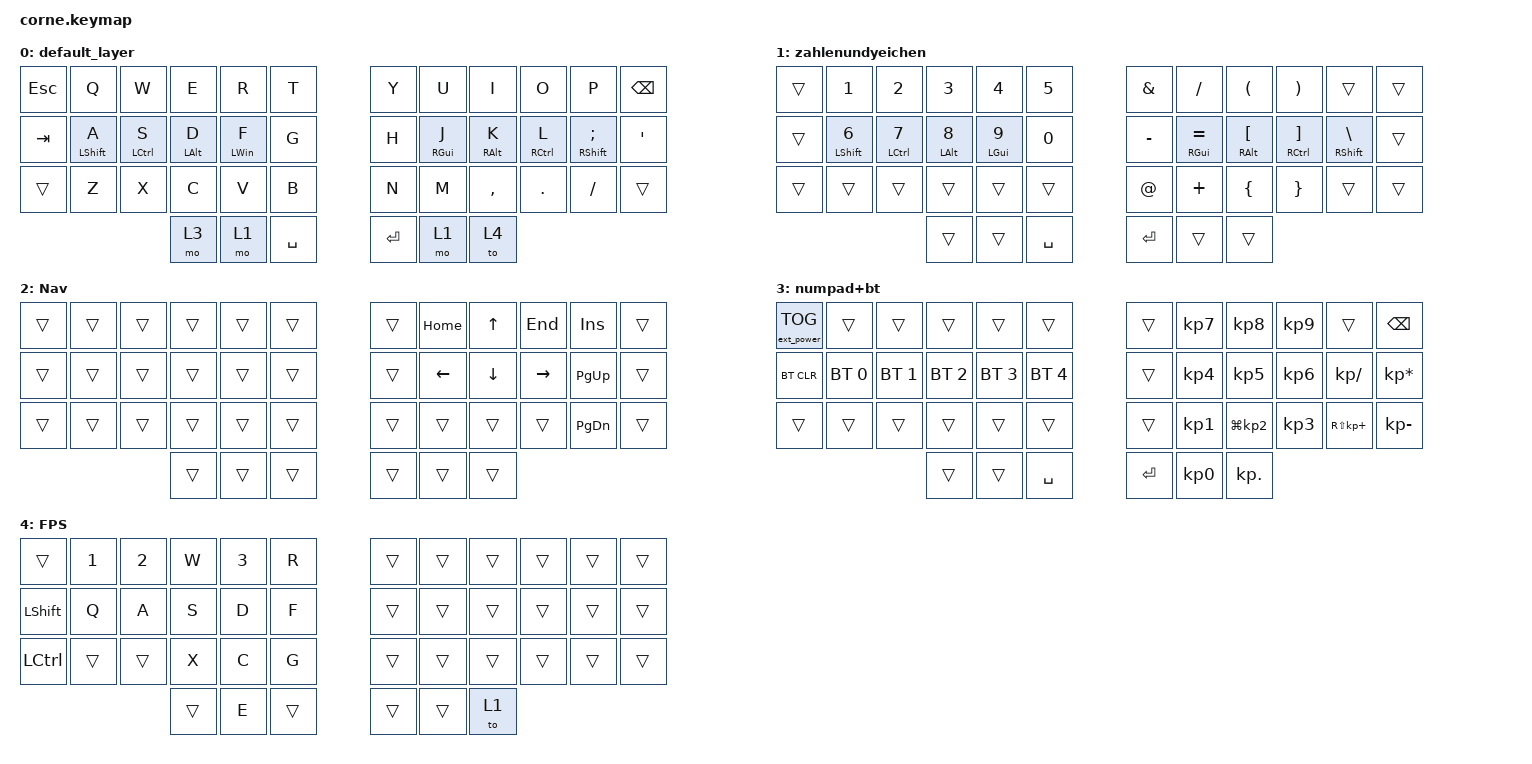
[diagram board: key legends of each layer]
/*
 * Copyright (c) 2020 The ZMK Contributors
 *
 * SPDX-License-Identifier: MIT
 */

#include <behaviors.dtsi>
#include <dt-bindings/zmk/bt.h>
#include <dt-bindings/zmk/ext_power.h>
#include <dt-bindings/zmk/keys.h>

&led_strip { chain-length = <27>; };

/ {
    combos {
        compatible = "zmk,combos";

        copy {
            bindings = <&kp LC(C)>;
            key-positions = <14 15>;
        };

        cut {
            bindings = <&kp LC(X)>;
            key-positions = <14 16>;
        };

        paste {
            bindings = <&kp LC(V)>;
            key-positions = <15 16>;
        };
    };

    behaviors {
        hrl: hrl {
            compatible = "zmk,behavior-hold-tap";
            label = "home row left";
            bindings = <&kp>, <&kp>;

            #binding-cells = <2>;
            tapping-term-ms = <180>;
            hold-trigger-key-positions = <6 7 8 9 10 11 18 19 20 21 22 23 30 31 32 33 34 35 36 37 38 39 40 41>;
        };

        hrr: hrr {
            compatible = "zmk,behavior-hold-tap";
            label = "home row right";
            bindings = <&kp>, <&kp>;

            #binding-cells = <2>;
            tapping-term-ms = <180>;
            hold-trigger-key-positions = <2 0 1 2 3 4 12 13 14 15 16 17 27 0 1 2 3 4 5 12 13 14 15 16 17 24 25 26 27 28 29 36 37 38 39 40 41>;
        };
    };

    keymap {
        compatible = "zmk,keymap";

        default_layer {
            // -----------------------------------------------------------------------------------------
            // |  TAB |  Q  |  W  |  E  |  R  |  T  |   |  Y  |  U   |  I  |  O  |  P  | BKSP |
            // | CTRL |  A  |  S  |  D  |  F  |  G  |   |  H  |  J   |  K  |  L  |  ;  |  '   |
            // | SHFT |  Z  |  X  |  C  |  V  |  B  |   |  N  |  M   |  ,  |  .  |  /  | ESC  |
            //                    | GUI | LWR | SPC |   | ENT | RSE  | ALT |

            bindings = <
&kp ESCAPE  &kp Q              &kp W                &kp E            &kp R            &kp T        &kp Y    &kp U             &kp I             &kp O                 &kp P                  &kp BSPC
&kp TAB     &hrl LEFT_SHIFT A  &hrl LEFT_CONTROL S  &hrl LEFT_ALT D  &hrl LEFT_WIN F  &kp G        &kp H    &hrr RIGHT_GUI J  &hrr RIGHT_ALT K  &hrr RIGHT_CONTROL L  &hrr RIGHT_SHIFT SEMI  &kp SINGLE_QUOTE
&trans      &kp Z              &kp X                &kp C            &kp V            &kp B        &kp N    &kp M             &kp COMMA         &kp DOT               &kp FSLH               &trans
                                                    &mo 3            &mo 1            &kp SPACE    &kp RET  &mo 1             &to 4
            >;
        };

        zahlenundyeichen {
            // -----------------------------------------------------------------------------------------
            // |  TAB |  !  |  @  |  #  |  $  |  %  |   |  ^  |  &  |  *  |  (  |  )  | BKSP |
            // | CTRL |     |     |     |     |     |   |  -  |  =  |  [  |  ]  |  \  |  `   |
            // | SHFT | Ü |     |     |     |     |   |  _  |  +  |  {  |  }  | "|" |  ~   |
            //                    | GUI |     | SPC |   | ENT |     | ALT |

            bindings = <
&trans  &kp NUMBER_1              &kp NUMBER_2          &kp N3            &kp N4            &kp N5       &kp AMPERSAND  &kp SLASH             &kp LEFT_PARENTHESIS  &kp RIGHT_PARENTHESIS  &trans                 &trans
&trans  &hrl LEFT_SHIFT NUMBER_6  &hrl LEFT_CONTROL N7  &hrl LEFT_ALT N8  &hrl LEFT_GUI N9  &kp N0       &kp MINUS      &hrr RIGHT_GUI EQUAL  &hrr RIGHT_ALT LBKT   &hrr RCTRL RBKT        &hrr RIGHT_SHIFT BSLH  &trans
&trans  &trans                    &trans                &trans            &trans            &trans       &kp AT         &kp PLUS              &kp LBRC              &kp RBRC               &trans                 &trans
                                                        &trans            &trans            &kp SPACE    &kp RET        &trans                &trans
            >;
        };

        Nav {
            bindings = <
&trans  &trans  &trans  &trans  &trans  &trans    &trans  &kp HOME  &kp UP    &kp END    &kp INS        &trans
&trans  &trans  &trans  &trans  &trans  &trans    &trans  &kp LEFT  &kp DOWN  &kp RIGHT  &kp PAGE_UP    &trans
&trans  &trans  &trans  &trans  &trans  &trans    &trans  &trans    &trans    &trans     &kp PAGE_DOWN  &trans
                        &trans  &trans  &trans    &trans  &trans    &trans
            >;
        };

        numpad+bt {
            // -----------------------------------------------------------------------------------------
            // |  TAB |  1  |  2  |  3  |  4  |  5  |   |  6  |  7  |  8  |  9  |  0  | BKSP |
            // | BTCLR| BT1 | BT2 | BT3 | BT4 | BT5 |   | LFT | DWN |  UP | RGT |     |      |
            // | SHFT |     |     |     |     |     |   |     |     |     |     |     |      |
            //                    | GUI |     | SPC |   | ENT |     | ALT |

            bindings = <
&ext_power EP_TOG  &trans        &trans        &trans        &trans        &trans          &trans   &kp KP_NUMBER_7  &kp KP_NUMBER_8      &kp KP_NUMBER_9  &trans           &kp BSPC
&bt BT_CLR         &bt BT_SEL 0  &bt BT_SEL 1  &bt BT_SEL 2  &bt BT_SEL 3  &bt BT_SEL 4    &trans   &kp KP_NUMBER_4  &kp KP_N5            &kp KP_NUMBER_6  &kp KP_DIVIDE    &kp KP_MULTIPLY
&trans             &trans        &trans        &trans        &trans        &trans          &trans   &kp KP_NUMBER_1  &kp LG(KP_NUMBER_2)  &kp KP_NUMBER_3  &kp RS(KP_PLUS)  &kp KP_MINUS
                                               &trans        &trans        &kp SPACE       &kp RET  &kp KP_NUMBER_0  &kp KP_DOT
            >;
        };

        FPS {
            bindings = <
&trans            &kp NUMBER_1  &kp NUMBER_2  &kp W   &kp NUMBER_3  &kp R     &trans  &trans  &trans  &trans  &trans  &trans
&kp LEFT_SHIFT    &kp Q         &kp A         &kp S   &kp D         &kp F     &trans  &trans  &trans  &trans  &trans  &trans
&kp LEFT_CONTROL  &trans        &trans        &kp X   &kp C         &kp G     &trans  &trans  &trans  &trans  &trans  &trans
                                              &trans  &kp E         &trans    &trans  &trans  &to 1
            >;
        };
    };
};
